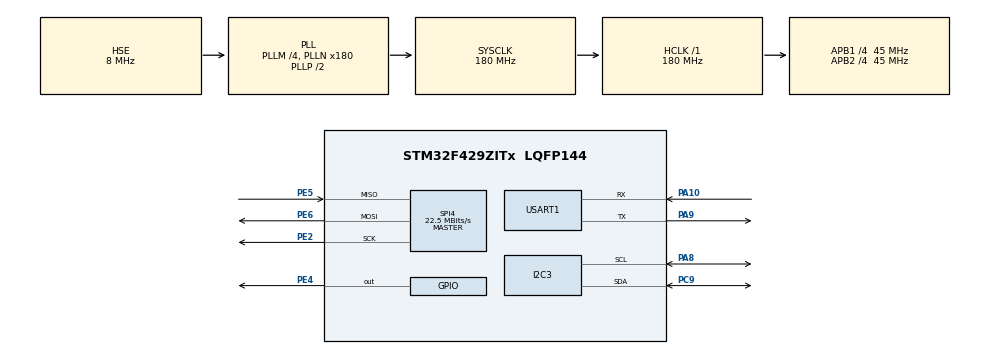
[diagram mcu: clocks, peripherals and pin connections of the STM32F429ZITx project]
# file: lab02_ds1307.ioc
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I2C3.I2C_Mode=I2C_Fast
Mcu.Family=STM32F4
Mcu.Name=STM32F429ZITx
Mcu.Package=LQFP144
NVIC.PriorityGroup=NVIC_PRIORITYGROUP_4
PA10.Mode=Asynchronous
PA10.Signal=USART1_RX
PA8.Mode=I2C
PA8.Signal=I2C3_SCL
PA9.Mode=Asynchronous
PA9.Signal=USART1_TX
PC9.Mode=I2C
PC9.Signal=I2C3_SDA
PE2.Mode=Full_Duplex_Master
PE2.Signal=SPI4_SCK
PE4.Signal=GPIO_Output
PE5.Mode=Full_Duplex_Master
PE5.Signal=SPI4_MISO
PE6.Mode=Full_Duplex_Master
PE6.Signal=SPI4_MOSI
PH0/OSC_IN.Mode=HSE-External-Oscillator
PH0/OSC_IN.Signal=RCC_OSC_IN
PH1/OSC_OUT.Mode=HSE-External-Oscillator
PH1/OSC_OUT.Signal=RCC_OSC_OUT
ProjectManager.HeapSize=0x200
ProjectManager.StackSize=0x400
ProjectManager.TargetToolchain=STM32CubeIDE
RCC.48MHZClocksFreq_Value=90000000
RCC.AHBFreq_Value=180000000
RCC.APB1CLKDivider=RCC_HCLK_DIV4
RCC.APB1Freq_Value=45000000
RCC.APB1TimFreq_Value=90000000
RCC.APB2CLKDivider=RCC_HCLK_DIV4
RCC.APB2Freq_Value=45000000
RCC.APB2TimFreq_Value=90000000
RCC.CortexFreq_Value=180000000
RCC.HCLKFreq_Value=180000000
RCC.HSE_VALUE=8000000
RCC.HSI_VALUE=16000000
RCC.LSE_VALUE=32768
RCC.PLLM=4
RCC.PLLN=180
RCC.PLLSourceVirtual=RCC_PLLSOURCE_HSE
RCC.SYSCLKFreq_VALUE=180000000
RCC.SYSCLKSource=RCC_SYSCLKSOURCE_PLLCLK
RCC.VCOOutputFreq_Value=360000000
SPI4.CalculateBaudRate=22.5 MBits/s
SPI4.Direction=SPI_DIRECTION_2LINES
SPI4.Mode=SPI_MODE_MASTER
SPI4.VirtualType=VM_MASTER
USART1.VirtualMode=VM_ASYNC
board=custom

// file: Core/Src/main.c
/* USER CODE BEGIN Header */
/**
  ******************************************************************************
  * @file           : main.c
  * @brief          : Main program body
  ******************************************************************************
  * @attention
  *
  * Copyright (c) 2026 STMicroelectronics.
  * All rights reserved.
  *
  * This software is licensed under terms that can be found in the LICENSE file
  * in the root directory of this software component.
  * If no LICENSE file comes with this software, it is provided AS-IS.
  *
  ******************************************************************************
  */
/* USER CODE END Header */
#include "main.h"

/* USER CODE BEGIN Includes */
#include <stdio.h>
#include <string.h>
#include "SH1106.h"
#include "tm_stm32f4_mfrc522.h"
/* USER CODE END Includes */

/* USER CODE BEGIN PD */
#define DS1307_ADDR_WRITE 0xD0
#define DS1307_ADDR_READ  0xD1
#define DS1307_SET_TIME_ONCE 0
/* USER CODE END PD */

I2C_HandleTypeDef hi2c3;

SPI_HandleTypeDef hspi4;

UART_HandleTypeDef huart1;

/* USER CODE BEGIN PV */
struct Time
{
  uint8_t sec;
  uint8_t min;
  uint8_t hour;
  uint8_t weekday;
  uint8_t day;
  uint8_t month;
  uint8_t year;
};

uint8_t rfid_id[5];
/* USER CODE END PV */

void SystemClock_Config(void);
static void MX_GPIO_Init(void);
static void MX_I2C3_Init(void);
static void MX_SPI4_Init(void);
static void MX_USART1_UART_Init(void);
/* USER CODE BEGIN PFP */
HAL_StatusTypeDef SetTime(struct Time *t);
HAL_StatusTypeDef GetTime(struct Time *t);
/* USER CODE END PFP */

/* USER CODE BEGIN 0 */
static uint8_t DecToBcd(uint8_t val)
{
  return ((val / 10) << 4) | (val % 10);
}

static uint8_t BcdToDec(uint8_t val)
{
  return ((val >> 4) * 10) + (val & 0x0F);
}

HAL_StatusTypeDef SetTime(struct Time *t)
{
  uint8_t data[7];

  data[0] = DecToBcd(t->sec) & 0x7F;
  data[1] = DecToBcd(t->min);
  data[2] = DecToBcd(t->hour);
  data[3] = DecToBcd(t->weekday);
  data[4] = DecToBcd(t->day);
  data[5] = DecToBcd(t->month);
  data[6] = DecToBcd(t->year);

  return HAL_I2C_Mem_Write(&hi2c3, DS1307_ADDR_WRITE, 0x00, I2C_MEMADD_SIZE_8BIT, data, 7, 1000);
}

HAL_StatusTypeDef GetTime(struct Time *t)
{
  uint8_t data[7];
  HAL_StatusTypeDef ret;

  ret = HAL_I2C_Mem_Read(&hi2c3, DS1307_ADDR_READ, 0x00, I2C_MEMADD_SIZE_8BIT, data, 7, 1000);
  if (ret != HAL_OK)
  {
    return ret;
  }

  t->sec     = BcdToDec(data[0] & 0x7F);
  t->min     = BcdToDec(data[1] & 0x7F);
  t->hour    = BcdToDec(data[2] & 0x3F);
  t->weekday = BcdToDec(data[3] & 0x07);
  t->day     = BcdToDec(data[4] & 0x3F);
  t->month   = BcdToDec(data[5] & 0x1F);
  t->year    = BcdToDec(data[6]);

  return HAL_OK;
}
/* USER CODE END 0 */

int main(void)
{

  /* MCU Configuration--------------------------------------------------------*/

  /* Reset of all peripherals, Initializes the Flash interface and the Systick. */
  HAL_Init();

  /* Configure the system clock */
  SystemClock_Config();

  /* Initialize all configured peripherals */
  MX_GPIO_Init();
  MX_I2C3_Init();
  MX_SPI4_Init();
  MX_USART1_UART_Init();
  /* USER CODE BEGIN 2 */
  char buff[50];

  if (SH1106_Init())
  {
    SH1106_Fill(SH1106_COLOR_BLACK);
    SH1106_GotoXY(12, 10);
    SH1106_Puts("RC522 RFID", &Font_11x18, SH1106_COLOR_WHITE);
    SH1106_GotoXY(0, 35);
    SH1106_Puts("Scan your card", &Font_7x10, SH1106_COLOR_WHITE);
    SH1106_UpdateScreen();

    sprintf(buff, "SH1106 OK\r\n");
    HAL_UART_Transmit(&huart1, (uint8_t *)buff, strlen(buff), 1000);
  }
  else
  {
    sprintf(buff, "SH1106 init error\r\n");
    HAL_UART_Transmit(&huart1, (uint8_t *)buff, strlen(buff), 1000);
  }

  HAL_Delay(100);

  TM_MFRC522_Init();
  HAL_Delay(50);

  sprintf(buff, "RC522 init done\r\n");
  HAL_UART_Transmit(&huart1, (uint8_t *)buff, strlen(buff), 1000);
  /* USER CODE END 2 */

  /* Infinite loop */
  while (1)
  {

    /* USER CODE BEGIN 3 */
//	  uint8_t CardID[5];
//	  char buf[100];
//
//	  if (TM_MFRC522_Check(CardID) == MI_OK)
//	  {
//	    sprintf(buf, "CARD FOUND: %02X %02X %02X %02X %02X\r\n",
//	            CardID[0], CardID[1], CardID[2], CardID[3], CardID[4]);
//	    HAL_UART_Transmit(&huart1, (uint8_t *)buf, strlen(buf), 1000);
//	  }
//	  else
//	  {
//	    sprintf(buf, "NO CARD\r\n");
//	    HAL_UART_Transmit(&huart1, (uint8_t *)buf, strlen(buf), 1000);
//	  }
//
//	  HAL_Delay(500);
	  if (TM_MFRC522_Check(rfid_id) == MI_OK)
	  {
	    SH1106_Fill(SH1106_COLOR_BLACK);

	    SH1106_GotoXY(0, 0);
	    SH1106_Puts("RFID UID:", &Font_11x18, SH1106_COLOR_WHITE);

	    sprintf(buff, "%02X %02X %02X %02X %02X",
	            rfid_id[0],
	            rfid_id[1],
	            rfid_id[2],
	            rfid_id[3],
	            rfid_id[4]);

	    SH1106_GotoXY(0, 30);
	    SH1106_Puts(buff, &Font_7x10, SH1106_COLOR_WHITE);
	    SH1106_UpdateScreen();

	    sprintf(buff, "UID: %02X %02X %02X %02X %02X\r\n",
	            rfid_id[0],
	            rfid_id[1],
	            rfid_id[2],
	            rfid_id[3],
	            rfid_id[4]);
	    HAL_UART_Transmit(&huart1, (uint8_t *)buff, strlen(buff), 1000);

	    HAL_Delay(500);
	  }
  }
  /* USER CODE END 3 */
}

void SystemClock_Config(void)
{
  RCC_OscInitTypeDef RCC_OscInitStruct = {0};
  RCC_ClkInitTypeDef RCC_ClkInitStruct = {0};

  /** Configure the main internal regulator output voltage
  */
  __HAL_RCC_PWR_CLK_ENABLE();
  __HAL_PWR_VOLTAGESCALING_CONFIG(PWR_REGULATOR_VOLTAGE_SCALE1);

  /** Initializes the RCC Oscillators according to the specified parameters
  * in the RCC_OscInitTypeDef structure.
  */
  RCC_OscInitStruct.OscillatorType = RCC_OSCILLATORTYPE_HSE;
  RCC_OscInitStruct.HSEState = RCC_HSE_ON;
  RCC_OscInitStruct.PLL.PLLState = RCC_PLL_ON;
  RCC_OscInitStruct.PLL.PLLSource = RCC_PLLSOURCE_HSE;
  RCC_OscInitStruct.PLL.PLLM = 4;
  RCC_OscInitStruct.PLL.PLLN = 180;
  RCC_OscInitStruct.PLL.PLLP = RCC_PLLP_DIV2;
  RCC_OscInitStruct.PLL.PLLQ = 4;
  if (HAL_RCC_OscConfig(&RCC_OscInitStruct) != HAL_OK)
  {
    Error_Handler();
  }

  /** Activate the Over-Drive mode
  */
  if (HAL_PWREx_EnableOverDrive() != HAL_OK)
  {
    Error_Handler();
  }

  /** Initializes the CPU, AHB and APB buses clocks
  */
  RCC_ClkInitStruct.ClockType = RCC_CLOCKTYPE_HCLK|RCC_CLOCKTYPE_SYSCLK
                              |RCC_CLOCKTYPE_PCLK1|RCC_CLOCKTYPE_PCLK2;
  RCC_ClkInitStruct.SYSCLKSource = RCC_SYSCLKSOURCE_PLLCLK;
  RCC_ClkInitStruct.AHBCLKDivider = RCC_SYSCLK_DIV1;
  RCC_ClkInitStruct.APB1CLKDivider = RCC_HCLK_DIV4;
  RCC_ClkInitStruct.APB2CLKDivider = RCC_HCLK_DIV4;

  if (HAL_RCC_ClockConfig(&RCC_ClkInitStruct, FLASH_LATENCY_5) != HAL_OK)
  {
    Error_Handler();
  }
}

static void MX_I2C3_Init(void)
{

  hi2c3.Instance = I2C3;
  hi2c3.Init.ClockSpeed = 400000;
  hi2c3.Init.DutyCycle = I2C_DUTYCYCLE_2;
  hi2c3.Init.OwnAddress1 = 0;
  hi2c3.Init.AddressingMode = I2C_ADDRESSINGMODE_7BIT;
  hi2c3.Init.DualAddressMode = I2C_DUALADDRESS_DISABLE;
  hi2c3.Init.OwnAddress2 = 0;
  hi2c3.Init.GeneralCallMode = I2C_GENERALCALL_DISABLE;
  hi2c3.Init.NoStretchMode = I2C_NOSTRETCH_DISABLE;
  if (HAL_I2C_Init(&hi2c3) != HAL_OK)
  {
    Error_Handler();
  }

  /** Configure Analogue filter
  */
  if (HAL_I2CEx_ConfigAnalogFilter(&hi2c3, I2C_ANALOGFILTER_ENABLE) != HAL_OK)
  {
    Error_Handler();
  }

  /** Configure Digital filter
  */
  if (HAL_I2CEx_ConfigDigitalFilter(&hi2c3, 0) != HAL_OK)
  {
    Error_Handler();
  }

}

static void MX_SPI4_Init(void)
{

  /* SPI4 parameter configuration*/
  hspi4.Instance = SPI4;
  hspi4.Init.Mode = SPI_MODE_MASTER;
  hspi4.Init.Direction = SPI_DIRECTION_2LINES;
  hspi4.Init.DataSize = SPI_DATASIZE_8BIT;
  hspi4.Init.CLKPolarity = SPI_POLARITY_LOW;
  hspi4.Init.CLKPhase = SPI_PHASE_1EDGE;
  hspi4.Init.NSS = SPI_NSS_SOFT;
  hspi4.Init.BaudRatePrescaler = SPI_BAUDRATEPRESCALER_16;
  hspi4.Init.FirstBit = SPI_FIRSTBIT_MSB;
  hspi4.Init.TIMode = SPI_TIMODE_DISABLE;
  hspi4.Init.CRCCalculation = SPI_CRCCALCULATION_DISABLE;
  hspi4.Init.CRCPolynomial = 10;
  if (HAL_SPI_Init(&hspi4) != HAL_OK)
  {
    Error_Handler();
  }

}

static void MX_USART1_UART_Init(void)
{

  huart1.Instance = USART1;
  huart1.Init.BaudRate = 115200;
  huart1.Init.WordLength = UART_WORDLENGTH_8B;
  huart1.Init.StopBits = UART_STOPBITS_1;
  huart1.Init.Parity = UART_PARITY_NONE;
  huart1.Init.Mode = UART_MODE_TX_RX;
  huart1.Init.HwFlowCtl = UART_HWCONTROL_NONE;
  huart1.Init.OverSampling = UART_OVERSAMPLING_16;
  if (HAL_UART_Init(&huart1) != HAL_OK)
  {
    Error_Handler();
  }

}

static void MX_GPIO_Init(void)
{
  GPIO_InitTypeDef GPIO_InitStruct = {0};

  /* GPIO Ports Clock Enable */
  __HAL_RCC_GPIOE_CLK_ENABLE();
  __HAL_RCC_GPIOH_CLK_ENABLE();
  __HAL_RCC_GPIOC_CLK_ENABLE();
  __HAL_RCC_GPIOA_CLK_ENABLE();

  /*Configure GPIO pin Output Level */
  HAL_GPIO_WritePin(GPIOE, GPIO_PIN_4, GPIO_PIN_RESET);

  /*Configure GPIO pin : PE4 */
  GPIO_InitStruct.Pin = GPIO_PIN_4;
  GPIO_InitStruct.Mode = GPIO_MODE_OUTPUT_PP;
  GPIO_InitStruct.Pull = GPIO_NOPULL;
  GPIO_InitStruct.Speed = GPIO_SPEED_FREQ_LOW;
  HAL_GPIO_Init(GPIOE, &GPIO_InitStruct);

}

void Error_Handler(void)
{
  __disable_irq();
  while (1)
  {
  }
}
